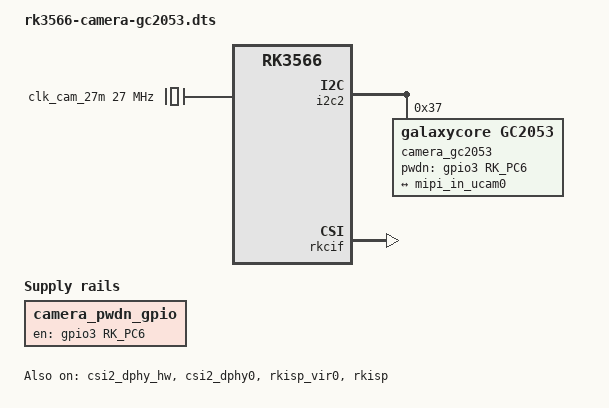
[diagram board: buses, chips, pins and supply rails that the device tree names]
/*
 * Device tree overlay for GC2053 (Galaxy Core 2MP) on RK3566
 *
 * Compatible with Radxa Zero 3W and similar RK3566-based boards
 * Uses I2C2 and CSI2 DPHY0 in full mode (2 lanes)
 * 2MP sensor commonly used in security cameras
 *
 * Copyright (c) 2024 MYSh LLC
 */
/dts-v1/;
/plugin/;

#include "dt-bindings.h"

/ {
	compatible = "rockchip,rk3566";

	metadata {
		title = "GC2053 Camera (2MP)";
		category = "camera";
		exclusive = "csi2_dphy0";
		description = "Enable Galaxy Core GC2053 2MP camera sensor on CSI2 DPHY0";
	};
};

&{/} {
	clk_cam_27m: external-camera-clock-27m {
		status = "okay";
		compatible = "fixed-clock";
		clock-frequency = <27000000>;
		clock-output-names = "clk_cam_27m";
		#clock-cells = <0>;
	};

	camera_pwdn_gpio: camera-pwdn-gpio {
		status = "okay";
		compatible = "regulator-fixed";
		regulator-name = "camera_pwdn_gpio";
		regulator-always-on;
		regulator-boot-on;
		enable-active-high;
		gpio = <&gpio3 RK_PC6 GPIO_ACTIVE_HIGH>;
	};
};

&i2c2 {
	status = "okay";
	pinctrl-names = "default";
	pinctrl-0 = <&i2c2m1_xfer>;
	#address-cells = <1>;
	#size-cells = <0>;

	camera_gc2053: camera-gc2053@37 {
		status = "okay";
		compatible = "galaxycore,gc2053";
		reg = <0x37>;
		clocks = <&clk_cam_27m>;
		clock-names = "xvclk";
		pwdn-gpios = <&gpio3 RK_PC6 GPIO_ACTIVE_HIGH>;
		rockchip,camera-module-index = <0>;
		rockchip,camera-module-facing = "back";
		rockchip,camera-module-name = "gc2053";
		rockchip,camera-module-lens-name = "default";

		port {
			gc2053_out: endpoint {
				remote-endpoint = <&mipi_in_ucam0>;
				data-lanes = <1 2>;
			};
		};
	};
};

&csi2_dphy_hw {
	status = "okay";
};

&csi2_dphy0 {
	status = "okay";

	ports {
		#address-cells = <1>;
		#size-cells = <0>;

		port@0 {
			reg = <0>;
			#address-cells = <1>;
			#size-cells = <0>;

			mipi_in_ucam0: endpoint@1 {
				reg = <1>;
				remote-endpoint = <&gc2053_out>;
				data-lanes = <1 2>;
			};
		};

		port@1 {
			reg = <1>;
			#address-cells = <1>;
			#size-cells = <0>;

			dphy0_out: endpoint@1 {
				reg = <1>;
				remote-endpoint = <&isp0_in>;
			};
		};
	};
};

&rkisp_vir0 {
	status = "okay";

	port {
		#address-cells = <1>;
		#size-cells = <0>;

		isp0_in: endpoint@0 {
			reg = <0>;
			remote-endpoint = <&dphy0_out>;
		};
	};
};

&rkisp {
	status = "okay";
};

&rkisp_mmu {
	status = "okay";
};

&rkcif_mmu {
	status = "okay";
};

&rkcif {
	status = "okay";
};
